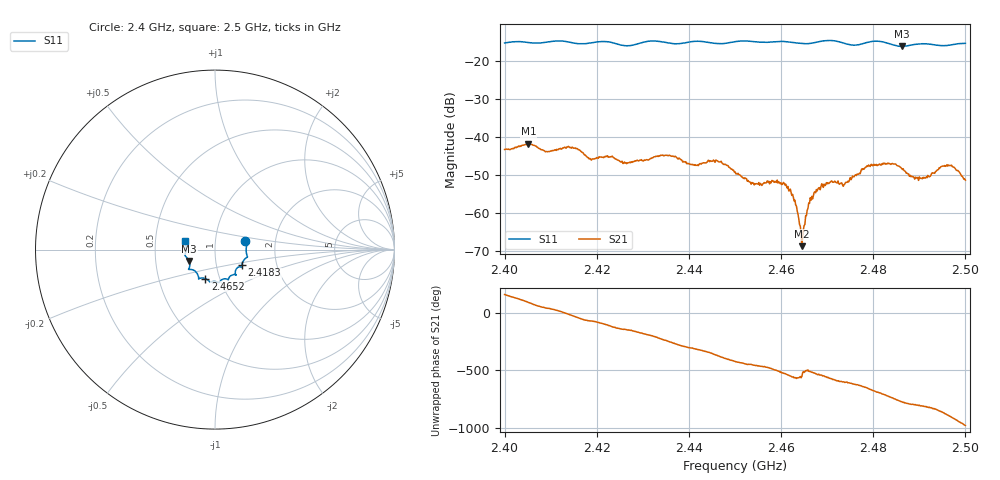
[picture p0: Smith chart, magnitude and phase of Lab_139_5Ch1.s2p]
# Hz S RI R 50
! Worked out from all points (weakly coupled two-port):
!   601 points, 2.4 GHz to 2.5 GHz, reference 50 ohm
!   highest |S21| = -41.75 dB at 2.4052 GHz (marker M1); lowest = -68.7 dB at 2.4645 GHz (marker M2)
!   lowest |S11| = -16.1 dB at 2.4862 GHz (marker M3), VSWR 1.37, Z = 37.2 - j4.87 ohm
!   |S11| at or under -10 dB: start of sweep to end of sweep
!   S12 and S22 are empty: the file has one direction only
!   S11 on the Smith chart (normalised r, x): 2.4 GHz: 1.40, +0.14; 2.4183 GHz: 1.33, -0.24; 2.4652 GHz: 0.85, -0.28; 2.5 GHz: 0.71, +0.07
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2.4e9  0.168 0.0472  -0.00636 0.00263  0 0  0 0
2.405167e9  0.1757 0.0172  0.000193 0.00817  0 0  0 0
2.416667e9  0.1554 -0.0681  0.00375 -0.00521  0 0  0 0
2.418333e9  0.1503 -0.0862  0.00177 -0.00487  0 0  0 0
2.426167e9  0.1246 -0.1011  -0.00373 -0.00265  0 0  0 0
2.433333e9  0.1171 -0.1412  -0.0043 0.00353  0 0  0 0
2.4415e9  0.0741 -0.1679  0.00311 0.0029  0 0  0 0
2.446333e9  0.0509 -0.1633  0.00464 -0.00117  0 0  0 0
2.45e9  0.0261 -0.1795  0.00156 -0.00314  0 0  0 0
2.454e9  0.0139 -0.1812  -0.000252 -0.00248  0 0  0 0
2.461e9  -0.0297 -0.1795  -0.00238 -0.000363  0 0  0 0
2.463e9  -0.036 -0.1717  -0.00136 0.000575  0 0  0 0
2.4645e9  -0.0475 -0.1645  -0.000355 9.32e-05  0 0  0 0
2.465167e9  -0.0544 -0.1614  -0.000619 -0.000346  0 0  0 0
2.466667e9  -0.0708 -0.1581  -0.00154 -0.000634  0 0  0 0
2.469333e9  -0.0898 -0.163  -0.00238 0.000372  0 0  0 0
2.473833e9  -0.0941 -0.1438  -0.000987 0.00221  0 0  0 0
2.483333e9  -0.1418 -0.0968  0.00447 -0.000452  0 0  0 0
2.486167e9  -0.1435 -0.0638  0.00232 -0.0031  0 0  0 0
2.490167e9  -0.166 -0.0358  8.96e-05 -0.00289  0 0  0 0
2.4965e9  -0.1616 0.021  -0.00423 -0.000215  0 0  0 0
2.5e9  -0.1657 0.0474  -0.000514 0.00267  0 0  0 0
